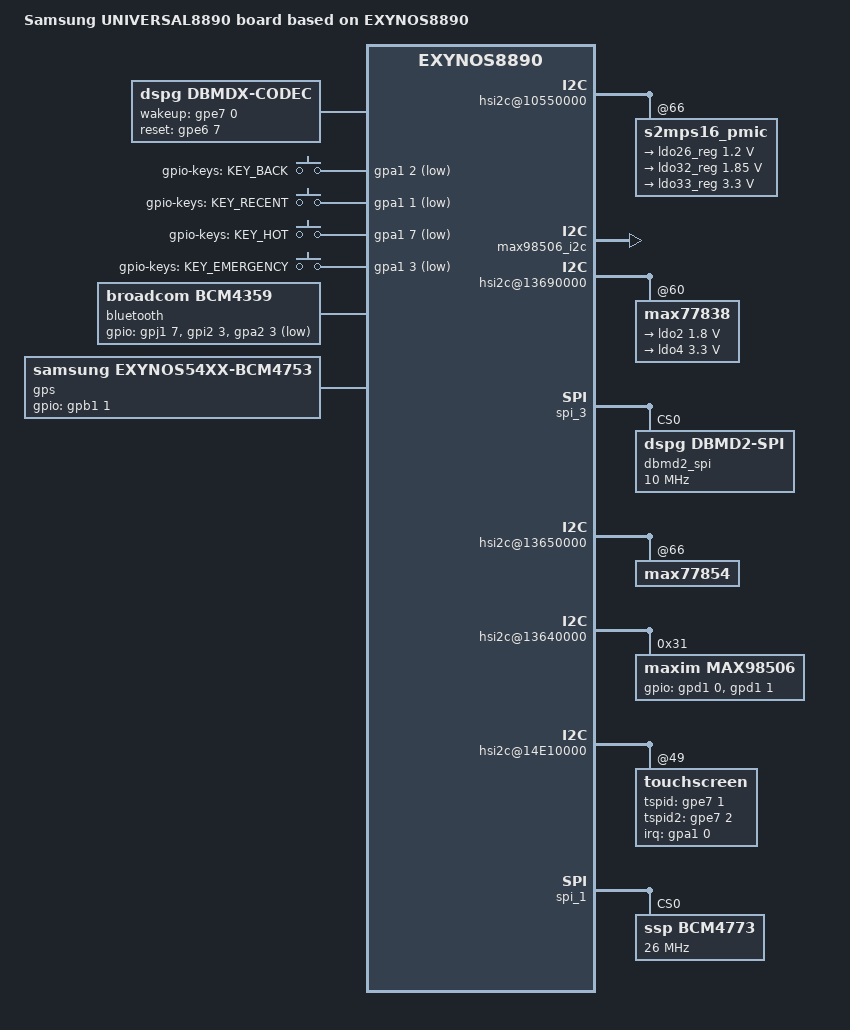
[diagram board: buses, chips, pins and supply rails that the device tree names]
/*
 * SAMSUNG UNIVERSAL8890 board device tree source
 *
 * Copyright (c) 2013 Samsung Electronics Co., Ltd.
 *		http://www.samsung.com
 *
 * This program is free software; you can redistribute it and/or modify
 * it under the terms of the GNU General Public License version 2 as
 * published by the Free Software Foundation.
*/

/dts-v1/;
#include "exynos8890-herolte_common.dtsi"
#include "exynos8890-haechilte_gpio.dtsi"
#include "exynos8890-haechilte_battery.dtsi"
#include "exynos8890-sound-cs47l91.dtsi"
#include "exynos8890-haechilte-sound.dtsi"
#include "exynos8890-luckylte_mst.dtsi"
#include "exynos8890-haechilte_display_00.dtsi"
#include "exynos8890-herolte_motor.dtsi"
#include "exynos8890-herolte_svcled.dtsi"

/ {
	model = "Samsung UNIVERSAL8890 board based on EXYNOS8890";
	model_info-chip = <8890>;
	model_info-platform = "android";
	model_info-subtype = "samsung";
	model_info-hw_rev = <1>;
	model_info-hw_rev_end = <1>;
	compatible = "samsung,exynos8890", "samsung,UNIVERSAL8890";

	audio_pdata {
		compatible = "samsung,audio-pdata";

		imp_table_CAN = <
			/* min      max gain */
			   0         13    0
			  14         42    8
			  43        100   11
			 101        200   14
			 201        450   15
			 451       1000   15
			1001 0x7fffffff   11
		>;

		seamless_voicewakeup;
		status = "okay";
	};

	hsi2c@10550000{
		s2mps16_pmic@66 {
			regulators {
				ldo26_reg: LDO26 {
					regulator-name = "VDD_DSP_1P2";
					regulator-min-microvolt = <1200000>;
					regulator-max-microvolt = <1200000>;
					regulator-boot-on;
					regulator-always-on;
					regulator-initial-mode = <3>;
				};
			};
		};
	};

	pinctrl@10580000 {
		codec_irq: codec-irq {
			samsung,pins = "gpa2-6";
			samsung,pin-function = <0xf>;
			samsung,pin-pud = <0>;
		};
		max98506_ctrl: max98506-ctl {
			samsung,pins ="gpa2-2";
			samsung,pin-function = <0>;
			samsung,pin-pud = <0>;
			samsung,pin-con-pdn =<2>;
			samsung,pin-pud-pdn = <0>;
		};
	};

	pinctrl@136D0000 {
		max98506_i2c: max98506-i2c {
			samsung,pins = "gpd1-0", "gpd1-1";
			samsung,pin-pud = <0>;
			status = "okay";
		};
	};

	hsi2c@10550000{
		status = "okay";

		s2mps16_pmic@66 {
			regulators {
				ldo32_reg: LDO32 {
					regulator-name = "tsp_io";
					regulator-min-microvolt = <1850000>;
					regulator-max-microvolt = <1850000>;
				};

				ldo33_reg: LDO33 {
					regulator-name = "tsp_avdd";
					regulator-min-microvolt = <3300000>;
					regulator-max-microvolt = <3300000>;
				};
			};
		};
	};

	hsi2c@13690000 {
		status = "okay";

		max77838@60 {
			regulators {
				ldo2: LDO2 {
					regulator-name = "HRM_1.8V_AP";
					regulator-min-microvolt = <1800000>;
					regulator-max-microvolt = <1800000>;
				};
				ldo4: LDO4 {
					regulator-name = "HRM_3.3V_AP";
					regulator-min-microvolt = <3300000>;
					regulator-max-microvolt = <3300000>;
				};
			};
		};
	};

	spi_3: spi@14d50000 {
		num-cs = <1>;
		status = "okay";
	#address-cells = <1>;
	#size-cells = <0>;
		pinctrl-names = "default";
		pinctrl-0 = <&spi3_bus &spi3_cs_func>;

		/delete-property/ pinctrl-1;
		/delete-property/ samsung,ese-oberthur;

		dbmd2_spi:dbmd2_interface@0x0  {
			compatible = "dspg,dbmd2-spi";
			spi-max-frequency = <10000000>;
			read-chunk-size  = <0x2000>;
			write-chunk-size = <0x40000>;
			dma_min_buffer_size = <0>;
			reg = <0>;
			gpio-controller;
		#gpio-cells = <2>;

			controller-data {
				cs-gpio = <&gpf2 1 0>;
				samsung,spi-feedback-delay = <0>;
				samsung,spi-chip-select-mode = <0>;
			};

		};
		/delete-node/ ese_spi@0;
	};

	dbmdx_event {
		status = "okay";
		compatible = "samsung,dbmdx-event";
	};

	dbmdx-snd-soc-platform {
		compatible = "dspg,dbmdx-snd-soc-platform";
	};

	snd-dbmdx-mach-drv {
		compatible = "dspg,snd-dbmdx-mach-drv";
	};

	dbmdx {
		status = "okay";
		compatible = "dspg,dbmdx-codec";

		reg = <0x0>;
		gpio-controller;
	#gpio-cells = <2>;

		pinctrl-names ="default";
		pinctrl-0 = <&dbmdx_wakeup &dbmdx_rst>;

		wakeup-gpio = <&gpe7 0 0>; /* VOICE_WAKE */
		reset-gpio = <&gpe6 7 0>; /* VOICE_RST */
		cmd-interface = <&dbmd2_spi>;
		feature-vqe; /* enable VQE */
		vqe-firmware-name = "dbmd2_vqe_fw.bin";

		va-speeds = <0x0000 0 0 960000
					0x0000 0 0 960000
					0x0000 0 0 4800000 >;
		/* vqe-config = < >; */
		vqe-modes = <0 1 2 3 4 5 0x100>;
		master-clk-rate = <26000000>;
		clocks = <&clock 1001>;
		clock-names = "dbmdx_constant_clk";
		constant-clk-rate = <26000000>;
		firmware_id = <0xdbd2>;
		wakeup_set_value = <1>;	/* Value to write to wakeup gpio */
	};

	pinctrl@14CC0000 {
		codec_reset: codec-reset {
			samsung,pins ="gpe6-5";
			samsung,pin-function = <1>;
			samsung,pin-pud = <1>;
			samsung,pin-con-pdn =<3>;
			samsung,pin-pud-pdn = <1>;
			samsung,pin-val = <0>;
		};
		dbmdx_wakeup: dbmdx-wakeup {
			samsung,pins ="gpe7-0";
			samsung,pin-function = <1>;
			samsung,pin-pud = <3>;
			samsung,pin-con-pdn =<3>;
			samsung,pin-pud-pdn = <3>;
			samsung,pin-val = <1>;
		};
		dbmdx_rst: dbmdx-rst {
			samsung,pins ="gpe6-7";
			samsung,pin-function = <1>;
			samsung,pin-pud = <3>;
			samsung,pin-con-pdn =<3>;
			samsung,pin-pud-pdn = <3>;
			samsung,pin-val = <1>;
		};
	};

	hsi2c@13650000 {
		status = "okay";

		max77854@66 {
			status = "okay";
		};
	};

	hsi2c@13640000 {
		status = "okay";
		max98506@31 {
			compatible = "maxim,max98506";
			reg = <0x31>;
			pinctrl-names = "default";
			pinctrl-0 = <&max98506_i2c &max98506_ctrl>;
			gpios = <&gpd1 0 0
				&gpd1 1 0
				>;
			i2c-gpio,delay-us = <2>;
			maxim,platform_type = <0>;
			maxim,spk-gain = <0x14>;
			maxim,sysclk = <12288000>;
			maxim,vmon_slot = <0>;
			maxim,platform_info = <0 0x4000 0x0F010203 0x0FF10203 0x00000000 40>;
			maxim,boost_step = <
						0x0F 0x0F 0x0F 0x0F
						0x0F 0x0F 0x0F 0x0F
						0x0F 0x0F 0x0F 0x0F
						0x0F 0x0F 0x02 0x00
						>;
			maxim,adc_threshold = <7>;
			maxim,registers-of-amp =
				<0x1F 0x00>,
				<0x21 0xC0>,
				<0x2F 0x00>;
			maxim,sub_reg = <0x34>;
		};
	};

	hsi2c@14E10000 {
		touchscreen@48{
			status = "disabled";
		};

		touchscreen@49{
			status = "okay";
			stm,tspid_gpio = <&gpe7 1 0>;
			stm,tspid2_gpio = <&gpe7 2 0>;
			stm,irq_gpio = <&gpa1 0 0>;
			stm,irq_type = <8200>;
			stm,project_name = "PS-LTE", "G880";
			stm,firmware_name = "tsp_stm/fts7bd50_haechi.fw";
		};
	};

	i2c@20 {
		touchkey@20 {
			status = "disabled";
		};
	};

	/* Disable NFC : gpa1-2 : key_back */
	hsi2c@13670000 {
		status = "disabled";
	};

	pinctrl@10580000 {
		key_back: key-back {
			samsung,pins = "gpa1-2";
			samsung,pin-function = <0xf>;
			samsung,pin-pud = <3>;
			samsung,pin-drv = <0>;
		};
		key_recent: key-recent {
			samsung,pins = "gpa1-1";
			samsung,pin-function = <0xf>;
			samsung,pin-pud = <3>;
			samsung,pin-drv = <0>;
		};
		key_hot: key-hot {
			samsung,pins = "gpa1-7";
			samsung,pin-function = <0xf>;
			samsung,pin-pud = <3>;
			samsung,pin-drv = <0>;
		};
		key_emergency: key-emergency {
			samsung,pins = "gpa1-3";
			samsung,pin-function = <0xf>;
			samsung,pin-pud = <3>;
			samsung,pin-drv = <0>;

		};
	};

	gpio_keys {
		button@5 {
			label = "gpio-keys: KEY_BACK";
			interrupts = <2 0 0>;
			interrupt-parent = <&gpa1>;
			linux,code = <158>;
			gpios = <&gpa1 2 0xf>;
		};
		button@6 {
			label = "gpio-keys: KEY_RECENT";
			interrupts = <1 0 0>;
			interrupt-parent = <&gpa1>;
			linux,code = <254>;
			gpios = <&gpa1 1 0xf>;
		};
		button@7 {
			label = "gpio-keys: KEY_HOT";
			interrupts = <7 0 0>;
			interrupt-parent = <&gpa1>;
			linux,code = <252>;
			gpios = <&gpa1 7 0xf>;
			gpio-key,wakeup = <1>;
		};
		button@8 {
			label = "gpio-keys: KEY_EMERGENCY";
			interrupts = <3 0 0>;
			interrupt-parent = <&gpa1>;
			linux,code = <240>; //UNDEFINED
			gpios = <&gpa1 3 0xf>;
			gpio-key,wakeup = <1>;
		};
	};

	spi_1: spi@14d30000 {
		#address-cells = <1>;
		#size-cells = <0>;

		pinctrl-names = "default";
		pinctrl-0 = <&spi1_mosi_sck_ssn &spi1_miso>;

		num-cs = <1>;
		status = "okay";

		BCM4773@0 {
			compatible = "ssp,BCM4773";
			reg = <0>;
			spi-max-frequency = <26000000>;
			spi-cpol;
			spi-cpha;
			pinctrl-names = "default";
			pinctrl-0 = <&ssp_host_req &ssp_mcu_req &ssp_mcu_resp &ssp_batch_wake_irq>;

			gpio-controller;
			#gpio-cells = <2>;
			ssp-host-req = <&gpa3 4 0x00>;
			ssp-mcu-req = <&gpe6 4 0x00>;
			ssp-mcu-resp = <&gpg0 2 0x00>;
			ssp-batch-wake-irq = <&gpa3 1 0x00>;
			ssp-acc-position = <1>;
			ssp-mag-position = <1>;
			ssp-sns-combination = <0>;
			ssp,prox-hi_thresh = <2000>;
			ssp,prox-low_thresh = <1400>;
			ssp-ap-rev = <1>;
			ssp-mag-array = <9787 662 79 290 9460 27 200 (-33) 10632>;
			ssp-glass-type = <0>;

			controller-data {
				cs-gpio = <&gpe2 5 0>;
				samsung,spi-feedback-delay = <0>;
				};
			};
	};

	bluetooth {
	compatible = "broadcom,bcm4359";
	gpios = <&gpj1 7 0	/*BT_EN*/
		&gpi2 3 0	/*BT_WAKE*/
		&gpa2 3 0xF	/*BT_HOST_WAKE*/ >;
	pinctrl-names = "default";
	pinctrl-0=<&bt_hostwake &bt_btwake &bt_en>;
	status = "okay";
	};

	gps {
		compatible = "samsung,exynos54xx-bcm4753";

		pinctrl-names = "default";
		//pinctrl-0 = <&ssp_gps_pwr_en &ssp_host_wake>;
		pinctrl-0 = <&ssp_gps_pwr_en>;

		gpios = <&gpb1 1 0x0
			      //&gpa3 1 0x0
				>;
		status = "okay";
	};

	pinctrl@10580000 {
		tflash_en: tfalsh-en {
			samsung,pins = "gpa3-7";
			samsung,pin-pud = <0>;
		};
	};

	pinctrl@15690000 {
		sd2_clk: sd2-clk {
			samsung,pins = "gpj0-0";
			samsung,pin-function = <2>;
			samsung,pin-pud = <0>;
			samsung,pin-drv = <2>;
		};

		sd2_bus1: sd2-bus-width1 {
			samsung,pins = "gpj0-3";
			samsung,pin-function = <2>;
			samsung,pin-pud = <0>;
			samsung,pin-drv = <2>;
		};

		sd2_bus4: sd2-bus-width4 {
			samsung,pins = "gpj0-4", "gpj0-5", "gpj0-6";
			samsung,pin-function = <2>;
			samsung,pin-pud = <0>;
			samsung,pin-drv = <2>;
		};
	};
};
